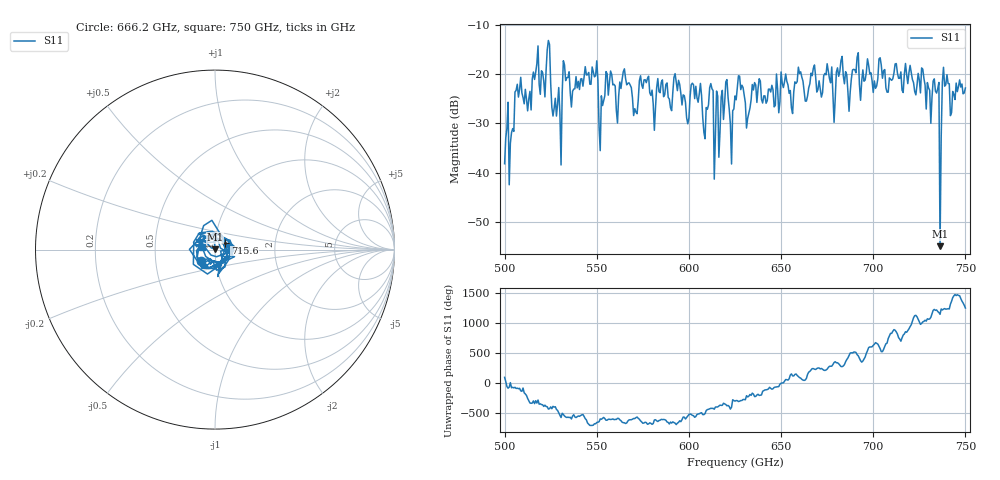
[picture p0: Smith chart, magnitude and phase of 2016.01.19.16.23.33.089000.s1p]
!Created with skrf (http://scikit-rf.org).
# GHz S RI R 50.0
!freq ReS11 ImS11
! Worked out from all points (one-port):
!   401 points, 500 GHz to 750 GHz, reference 50 ohm
!   lowest |S11| = -54.8 dB at 736.2 GHz (marker M1), VSWR 1.00, Z = 50.1 + j0.166 ohm
!   |S11| at or under -10 dB: start of sweep to end of sweep
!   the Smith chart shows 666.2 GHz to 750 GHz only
!   S11 on the Smith chart (normalised r, x): 666.2 GHz: 0.85, -0.11; 715.6 GHz: 1.12, +0.09; 750 GHz: 0.87, +0.02
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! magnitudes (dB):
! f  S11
! 500 GHz  -38.1
! 503.8 GHz  -31.8
! 506.9 GHz  -22.1
! 513.1 GHz  -25.0
! 516.9 GHz  -19.6
! 523.8 GHz  -13.2
! 526.9 GHz  -26.9
! 531.2 GHz  -23.7
! 533.1 GHz  -21.3
! 548.8 GHz  -20.6
! 552.5 GHz  -24.4
! 556.2 GHz  -24.3
! 562.5 GHz  -21.6
! 593.8 GHz  -23.4
! 608.8 GHz  -33.1
! 611.9 GHz  -21.9
! 615 GHz  -23.4
! 625 GHz  -24.4
! 656.2 GHz  -28.0
! 666.2 GHz  -19.8
! 687.5 GHz  -23.6
! 690.6 GHz  -19.8
! 715.6 GHz  -23.3
! 718.8 GHz  -21.9
! 734.4 GHz  -23.8
! 736.2 GHz  -54.8
! 738.8 GHz  -22.5
! 750 GHz  -22.8
